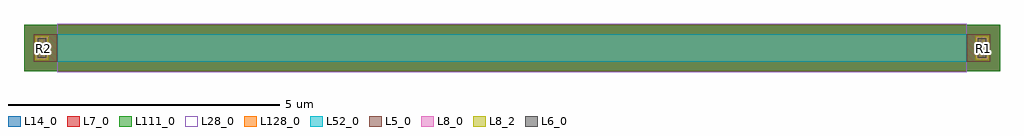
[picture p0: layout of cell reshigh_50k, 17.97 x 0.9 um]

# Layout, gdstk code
from math import pi, radians
import gdstk
lib = gdstk.Library(unit=1e-6, precision=1e-09)
def R(c, l, rs):  # rectangles x0, y0, x1, y1
    for r in rs: c.add(gdstk.rectangle(r[:2], r[2:], *l))
L5_0 = (5, 0)
L6_0 = (6, 0)
L7_0 = (7, 0)
L8_0 = (8, 0)
L8_2 = (8, 2)
L14_0 = (14, 0)
L28_0 = (28, 0)
L52_0 = (52, 0)
L111_0 = (111, 0)
L128_0 = (128, 0)

rhigh = lib.new_cell('rhigh')
R(rhigh, L5_0, [(0,-0.43,0.5,0), (0,16.75,0.5,17.18)])
R(rhigh, L6_0, [(0.07,-0.36,0.43,-0.2), (0.07,16.95,0.43,17.11)])
R(rhigh, L7_0, [(-0.18,-0.61,0.68,0.18), (-0.18,0,0.68,16.75), (-0.18,0,0.68,16.75), (-0.18,16.57,0.68,17.36)])
R(rhigh, L8_0, [(0.02,-0.41,0.48,-0.15), (0.02,16.9,0.48,17.16)])
R(rhigh, L8_2, [(0.02,-0.41,0.48,-0.15), (0.02,16.9,0.48,17.16)])
R(rhigh, L14_0, [(-0.18,-0.61,0.68,0.18), (-0.18,0,0.68,16.75), (-0.18,0,0.68,16.75), (-0.18,16.57,0.68,17.36)])
R(rhigh, L28_0, [(-0.2,0,0.7,16.75)])
R(rhigh, L52_0, [(0,0,0.5,16.75)])
R(rhigh, L111_0, [(-0.18,-0.61,0.68,0.18), (-0.2,0,0.7,16.75), (-0.18,16.57,0.68,17.36)])
R(rhigh, L128_0, [(0,0,0.5,16.75)])
rhigh.add(gdstk.Label('rhigh r=49841.739', (0.25,8.375), layer=63, texttype=0))
rhigh.add(gdstk.Label('rhigh', (0.25,8.375), layer=52, texttype=0))

reshigh_50k = lib.new_cell('reshigh_50k')
r = gdstk.Reference(rhigh, (-8.285,0.22), rotation=3*pi/2); r.repetition = gdstk.Repetition(1, 1, v1=(0,0), v2=(0,0)); reshigh_50k.add(r)
reshigh_50k.add(gdstk.Label('R2', (-8.54,-0.035), layer=8, texttype=25))
reshigh_50k.add(gdstk.Label('R1', (8.77,-0.045), layer=8, texttype=25))

lib.write_gds('reshigh_50k.gds')
